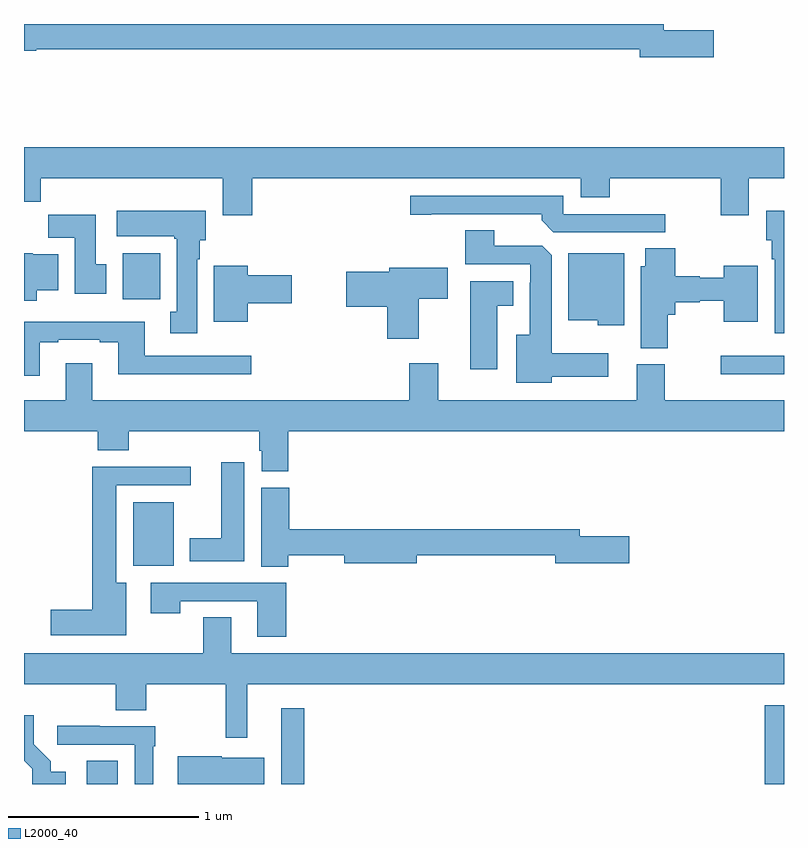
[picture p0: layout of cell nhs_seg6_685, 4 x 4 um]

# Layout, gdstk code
import gdstk
lib = gdstk.Library(unit=1e-6, precision=1e-09)
def R(c, l, rs):  # rectangles x0, y0, x1, y1
    for r in rs: c.add(gdstk.rectangle(r[:2], r[2:], *l))
def P(c, l, *ps):  # polygons
    for p in ps: c.add(gdstk.Polygon(p, *l))
L2000_40 = (2000, 40)

nhs_seg6_685 = lib.new_cell('nhs_seg6_685')
R(nhs_seg6_685, L2000_40, [(155.33,925.5,155.494,925.622), (156.353,925.5,156.475,925.9), (158.899,925.5,159,925.914), (155.576,926.648,155.788,926.983), (158.667,927.656,159,927.753), (155.519,928.052,155.716,928.294)])
P(nhs_seg6_685, L2000_40, [(158.629,929.468),(158.368,929.468),(158.368,929.5),(155,929.5),(155,929.36),(155.064,929.36),(155.064,929.368),(158.24,929.368),(158.24,929.326),(158.629,929.326)],
  [(156.2,928.688),(157.931,928.688),(157.931,928.589),(158.084,928.589),(158.084,928.688),(158.668,928.688),(158.668,928.494),(158.815,928.494),(158.815,928.688),(159,928.688),(159,928.852),(155,928.852),(155,928.564),(155.087,928.564),(155.087,928.688),(156.047,928.688),(156.047,928.494),(156.2,928.494)],
  [(158.374,928.5),(157.839,928.5),(157.839,928.596),(157.032,928.596),(157.032,928.495),(157.144,928.495),(157.144,928.5),(157.724,928.5),(157.724,928.466),(157.785,928.404),(158.374,928.404)],
  [(159,928.516),(158.906,928.516),(158.906,928.362),(158.936,928.362),(158.936,928.262),(158.951,928.262),(158.951,927.873),(159,927.873)],
  [(155.911,928.262),(155.926,928.262),(155.926,928.362),(155.956,928.362),(155.956,928.516),(155.487,928.516),(155.487,928.382),(155.791,928.382),(155.791,928.369),(155.804,928.369),(155.804,927.986),(155.771,927.986),(155.771,927.873),(155.911,927.873)],
  [(155.434,928.236),(155.377,928.236),(155.377,928.495),(155.128,928.495),(155.128,928.376),(155.267,928.376),(155.267,928.08),(155.434,928.08)],
  [(157.777,927.644),(158.074,927.644),(158.074,927.766),(157.777,927.766),(157.777,928.283),(157.728,928.332),(157.474,928.332),(157.474,928.415),(157.322,928.415),(157.322,928.236),(157.665,928.236),(157.665,928.139),(157.661,928.139),(157.661,927.865),(157.592,927.865),(157.592,927.611),(157.777,927.611)],
  [(158.388,927.971),(158.428,927.971),(158.428,928.036),(158.556,928.036),(158.556,928.044),(158.684,928.044),(158.684,927.932),(158.863,927.932),(158.863,928.228),(158.684,928.228),(158.684,928.165),(158.556,928.165),(158.556,928.172),(158.428,928.172),(158.428,928.319),(158.27,928.319),(158.27,928.224),(158.246,928.224),(158.246,927.793),(158.388,927.793)],
  [(155.068,928.1),(155.179,928.1),(155.179,928.288),(155.046,928.288),(155.046,928.294),(155,928.294),(155,928.043),(155.068,928.043)],
  [(158.158,928.294),(157.865,928.294),(157.865,927.941),(158.019,927.941),(158.019,927.914),(158.158,927.914)],
  [(156.178,928.031),(156.409,928.031),(156.409,928.178),(156.178,928.178),(156.178,928.228),(155.999,928.228),(155.999,927.932),(156.178,927.932)],
  [(157.078,928.054),(157.231,928.054),(157.231,928.216),(156.923,928.216),(156.923,928.196),(156.696,928.196),(156.696,928.013),(156.911,928.013),(156.911,927.843),(157.078,927.843)],
  [(157.492,928.016),(157.576,928.016),(157.576,928.147),(157.349,928.147),(157.349,927.684),(157.492,927.684)],
  [(155.083,927.825),(155.179,927.825),(155.179,927.837),(155.399,927.837),(155.399,927.825),(155.495,927.825),(155.495,927.656),(156.196,927.656),(156.196,927.753),(155.635,927.753),(155.635,927.934),(155,927.934),(155,927.648),(155.083,927.648)],
  [(156.392,927.356),(159,927.356),(159,927.52),(158.373,927.52),(158.373,927.708),(158.225,927.708),(158.225,927.52),(157.18,927.52),(157.18,927.715),(157.028,927.715),(157.028,927.52),(155.359,927.52),(155.359,927.715),(155.219,927.715),(155.219,927.52),(155,927.52),(155,927.356),(155.387,927.356),(155.387,927.257),(155.552,927.257),(155.552,927.356),(156.239,927.356),(156.239,927.255),(156.251,927.255),(156.251,927.145),(156.392,927.145)],
  [(156.16,927.193),(156.038,927.193),(156.038,926.794),(155.873,926.794),(155.873,926.672),(156.16,926.672)],
  [(155.539,926.56),(155.485,926.56),(155.485,927.072),(155.878,927.072),(155.878,927.17),(155.36,927.17),(155.36,926.417),(155.142,926.417),(155.142,926.282),(155.539,926.282)],
  [(156.39,926.704),(156.686,926.704),(156.686,926.662),(157.066,926.662),(157.066,926.704),(157.796,926.704),(157.796,926.662),(158.185,926.662),(158.185,926.804),(157.924,926.804),(157.924,926.84),(156.395,926.84),(156.395,927.06),(156.248,927.06),(156.248,926.644),(156.39,926.644)],
  [(156.38,926.559),(155.667,926.559),(155.667,926.4),(155.823,926.4),(155.823,926.463),(156.227,926.463),(156.227,926.274),(156.38,926.274)],
  [(156.175,926.024),(159,926.024),(159,926.188),(156.091,926.188),(156.091,926.378),(155.944,926.378),(155.944,926.188),(155,926.188),(155,926.024),(155.483,926.024),(155.483,925.888),(155.643,925.888),(155.643,926.024),(156.061,926.024),(156.061,925.743),(156.175,925.743)],
  [(155.221,925.564),(155.14,925.564),(155.14,925.619),(155.05,925.709),(155.05,925.861),(155,925.861),(155,925.622),(155.043,925.579),(155.043,925.5),(155.221,925.5)],
  [(155.679,925.7),(155.692,925.7),(155.692,925.803),(155.399,925.803),(155.399,925.806),(155.175,925.806),(155.175,925.707),(155.583,925.707),(155.583,925.5),(155.679,925.5)],
  [(156.265,925.639),(156.042,925.639),(156.042,925.647),(155.808,925.647),(155.808,925.5),(156.265,925.5)])

lib.write_gds('nhs_seg6_685.gds')
